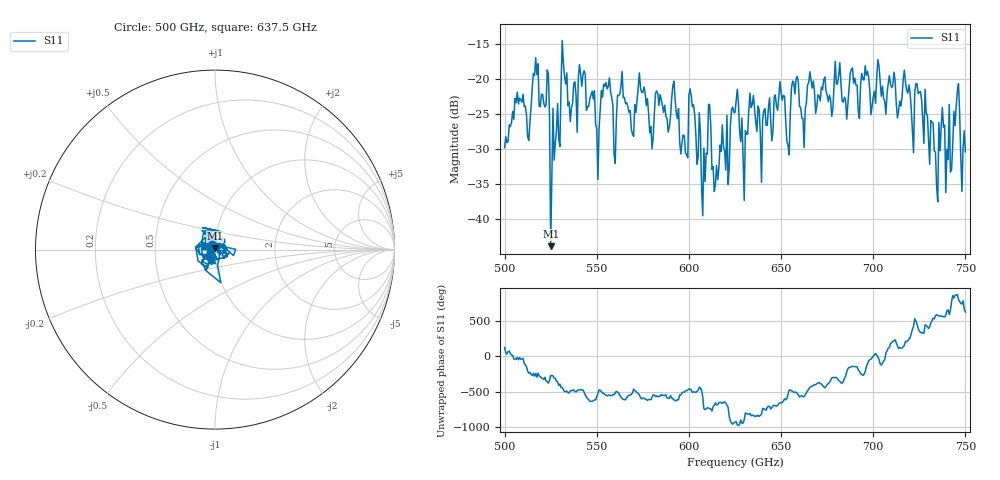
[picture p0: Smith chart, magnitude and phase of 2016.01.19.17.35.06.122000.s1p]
!Created with skrf (http://scikit-rf.org).
# GHz S RI R 50.0
!freq ReS11 ImS11
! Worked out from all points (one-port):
!   401 points, 500 GHz to 750 GHz, reference 50 ohm
!   lowest |S11| = -43.8 dB at 525 GHz (marker M1), VSWR 1.01, Z = 50 + j0.645 ohm
!   |S11| at or under -10 dB: start of sweep to end of sweep
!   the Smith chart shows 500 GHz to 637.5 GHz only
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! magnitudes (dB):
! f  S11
! 500 GHz  -29.8
! 506.9 GHz  -21.9
! 513.1 GHz  -28.8
! 516.9 GHz  -17.0
! 525 GHz  -43.8
! 526.2 GHz  -24.2
! 531.2 GHz  -14.6
! 541.9 GHz  -21.1
! 550.6 GHz  -34.3
! 553.8 GHz  -20.8
! 562.5 GHz  -22.2
! 593.8 GHz  -25.7
! 598.1 GHz  -30.6
! 601.2 GHz  -22.4
! 608.1 GHz  -29.8
! 610.6 GHz  -23.6
! 615 GHz  -32.3
! 625 GHz  -24.8
! 630.6 GHz  -27.4
! 633.8 GHz  -24.1
! 650.6 GHz  -23.1
! 653.8 GHz  -29.5
! 656.2 GHz  -20.3
! 687.5 GHz  -19.2
! 718.8 GHz  -22.0
! 733.8 GHz  -30.4
! 745 GHz  -24.0
! 750 GHz  -30.4
